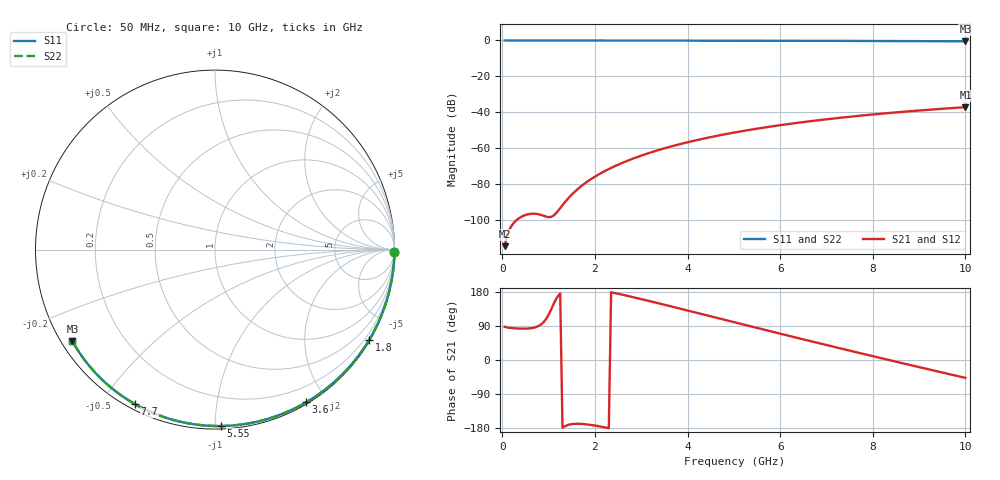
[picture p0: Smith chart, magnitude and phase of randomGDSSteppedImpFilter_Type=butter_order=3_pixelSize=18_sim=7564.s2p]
! freq	dB(S11)	phase(S11)	dB(S12)	phase(S12)
!  dB(S21)	phase(S21)	dB(S22)	phase(S22)
!S-par simulation data
#  GHz  S  DB  R 50
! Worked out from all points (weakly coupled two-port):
!   200 points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, 50 MHz to 10 GHz, reference 50 ohm
!   highest |S21| = -37.24 dB at 10 GHz (marker M1); lowest = -114.8 dB at 50 MHz (marker M2)
!   lowest |S11| = -0.5 dB at 10 GHz (marker M3), VSWR 35.01, Z = 1.55 - j14.7 ohm
!   |S11| at or under -10 dB: nowhere
!   |S22| runs from -0.5 to 0.0 dB; largest |S21 - S12| = 0
!   S11 on the Smith chart (normalised r, x): 50 MHz: open; 1.8 GHz: 0.03, -3.69; 3.6 GHz: 0.02, -1.76; 5.55 GHz: 0.02, -1.04; 7.7 GHz: 0.02, -0.61; 10 GHz: 0.03, -0.29
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0.05  -0.00 -0.9  -114.78 87.7  -114.78 87.7  -0.00 -0.9
0.45  -0.01 -7.7  -97.88 82.7  -97.88 82.7  -0.01 -7.7
0.9  -0.02 -15.3  -97.89 100.9  -97.89 100.9  -0.02 -15.3
1.3  -0.03 -22.0  -91.88 -178.7  -91.88 -178.7  -0.03 -22.0
1.75  -0.04 -29.5  -80.38 -169.0  -80.38 -169.0  -0.04 -29.5
1.8  -0.04 -30.3  -79.42 -169.6  -79.42 -169.6  -0.04 -30.3
1.95  -0.04 -32.8  -76.80 -172.0  -76.80 -172.0  -0.04 -32.8
2.1  -0.04 -35.3  -74.49 -175.1  -74.49 -175.1  -0.04 -35.3
2.3  -0.05 -38.5  -71.75 -179.9  -71.75 -179.9  -0.05 -38.5
2.5  -0.05 -41.8  -69.32 174.9  -69.32 174.9  -0.05 -41.8
2.9  -0.06 -48.2  -65.18 163.6  -65.18 163.6  -0.06 -48.2
3.4  -0.07 -56.0  -60.94 148.8  -60.94 148.8  -0.07 -56.0
3.6  -0.08 -59.1  -59.46 142.8  -59.46 142.8  -0.08 -59.1
4.3  -0.10 -69.8  -55.02 121.4  -55.02 121.4  -0.10 -69.8
5.05  -0.12 -80.8  -51.18 98.4  -51.18 98.4  -0.12 -80.8
5.55  -0.14 -88.0  -49.02 83.1  -49.02 83.1  -0.14 -88.0
6.1  -0.17 -95.7  -46.91 66.5  -46.91 66.5  -0.17 -95.7
6.7  -0.20 -104.0  -44.90 48.4  -44.90 48.4  -0.20 -104.0
7.7  -0.27 -117.3  -42.05 18.9  -42.05 18.9  -0.27 -117.3
8.35  -0.32 -125.9  -40.48 -0.1  -40.48 -0.1  -0.32 -125.8
9.2  -0.40 -136.9  -38.68 -24.5  -38.68 -24.5  -0.40 -136.9
10  -0.50 -147.3  -37.24 -47.2  -37.24 -47.2  -0.50 -147.3
